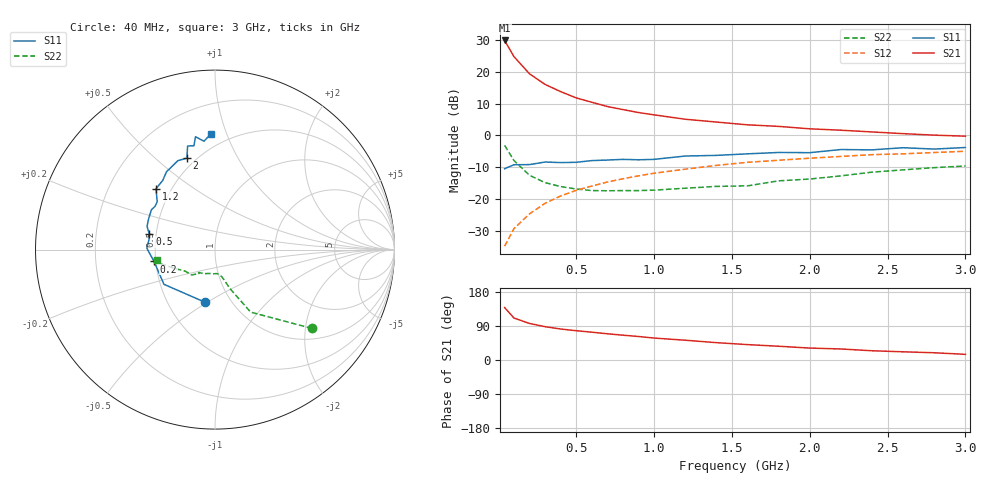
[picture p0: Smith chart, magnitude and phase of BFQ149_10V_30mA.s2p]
! Filename:  BFQ149F.S2P  Version:  2.0
! Philips part #: BFQ149  Date: Aug 1990
! Bias condition: Vce=-10V, Ic=-30mA
#  MHz  S  MA  R  50
! Freq  S11  S21  S12  S22  !GUM [dB]
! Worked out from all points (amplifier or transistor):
!   21 points, 40 MHz to 3 GHz, reference 50 ohm
!   highest |S21| = 29.9 dB at 40 MHz (marker M1)
!   |S21| within 3 dB of that: start of sweep to 75.34 MHz
!   unconditionally stable (mu >= 1): 288 MHz to 1.163 GHz
!   at 300 MHz: K = 1.00, MAG = 18.5 dB, |S12| = -21.4 dB
!   at 1 GHz: K = 1.03, MAG = 8.2 dB, |S12| = -11.9 dB
!   at 3 GHz: K = 0.90, MSG = 2.4 dB, |S12| = -5.0 dB
!   S11 on the Smith chart (normalised r, x): 40 MHz: 0.76, -0.49; 200 MHz: 0.49, -0.07; 500 MHz: 0.46, +0.09; 1.2 GHz: 0.41, +0.36; 2 GHz: 0.45, +0.64; 3 GHz: 0.40, +0.88
40  0.298 -101.2  31.09 138.4  0.018 73.8  0.697 -39.1
100  0.344 -145.8  17.3 110.8  0.034 71.6  0.401 -60.3
200  0.346 -169.0  9.284 96.4  0.058 73.5  0.235 -68.8
300  0.38 178.8  6.315 87.9  0.085 74.3  0.18 -72.9
400  0.372 171.5  4.873 81.8  0.111 73.7  0.156 -76.0
500  0.376 166.6  3.874 77.3  0.136 73.6  0.143 -80.1
600  0.4 161.2  3.313 73.4  0.159 71.8  0.135 -83.8
700  0.408 155.0  2.838 69.2  0.184 70.7  0.134 -88.1
800  0.418 147.9  2.54 65.5  0.207 69.4  0.135 -93.2
900  0.412 144.3  2.282 62.0  0.23 67.6  0.135 -98.6
1000  0.418 140.4  2.098 57.9  0.253 66.0  0.137 -104.0
1200  0.472 134.1  1.79 52.2  0.293 63.5  0.147 -114.2
1400  0.483 127.1  1.617 45.8  0.336 60.9  0.157 -125.7
1600  0.511 121.9  1.462 40.6  0.376 56.6  0.16 -123.8
1800  0.537 112.6  1.382 36.3  0.405 54.9  0.192 -132.5
2000  0.533 107.1  1.265 31.5  0.436 52.4  0.205 -144.2
2200  0.597 104.8  1.203 29.1  0.465 50.3  0.23 -151.1
2400  0.59 101.5  1.13 24.4  0.496 47.8  0.263 -157.9
2600  0.638 99.8  1.062 21.6  0.511 45.3  0.286 -161.9
2800  0.607 95.8  1.006 19.1  0.536 43.5  0.31 -164.8
3000  0.643 92.2  0.969 14.9  0.561 40.9  0.329 -169.9
